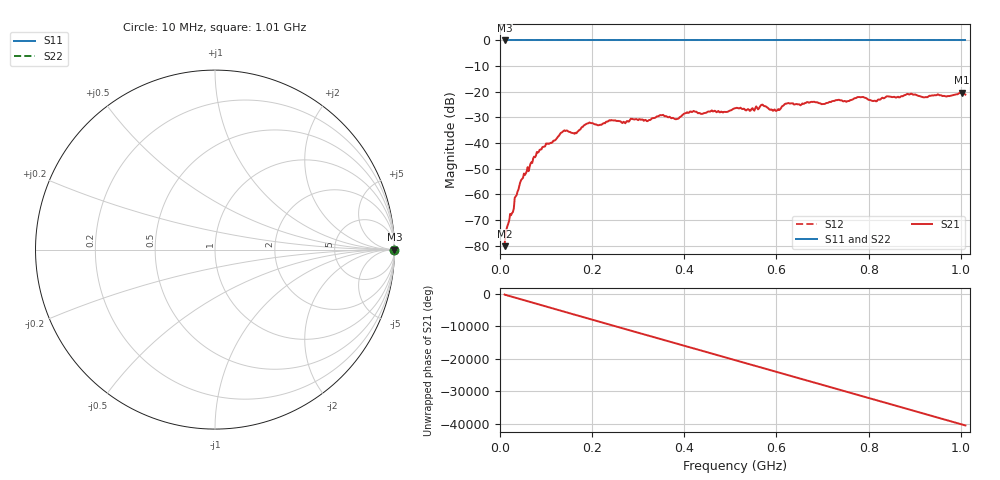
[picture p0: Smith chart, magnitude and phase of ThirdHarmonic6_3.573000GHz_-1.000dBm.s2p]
! 8/17/2025 11:50:52 AM
! C:\ANRITSUVNA\TEMP\TEMP.S2P
! CHANNEL.1
! TR.MEASUREMENT
! RAW.DATA
! RF.CORRECTION.OFF
! AVERAGING.OFF
! IF.BANDWIDTH: 5KHZ
! SWEEPTYPE:  FREQ.SWEEP(Linear)
! Reference Plane Port Info
! PORT:  PORT1  PORT2
! DISTANCE:  0  m  0  m
! TIME:  0  s  0  s
! PHASE.OFFSET:  0  deg.  0  deg.
! LOSS:  0  dB  0  dB
! REF.LOSS:  0  dB  0  dB
! REF.FREQ:  0  Hz  0  Hz
! Power Info
! POWER:  -20  dBm  -20  dBm
! EFF.POWER:  -20  dBm  -20  dBm
! SOURCE.ATTEN:  0  dB  0  dB
! TEST.ATTEN:  0  dB  0  dB
# GHZ S RI R 50.0
! FREQ.GHZ  S11RE  S11IM  S21RE  S21IM  S12RE  S12IM  S22RE  S22IM
!; PortSelection: Port_12
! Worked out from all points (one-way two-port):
!   501 points, 10 MHz to 1.01 GHz, reference 50 ohm
!   highest |S21| = -20.40 dB at 1.002 GHz (marker M1); lowest = -80.2 dB at 10 MHz (marker M2)
!   lowest |S11| = 0.0 dB at 10 MHz (marker M3)
!   |S11| at or under -10 dB: nowhere
!   |S22| runs from 0.0 to 0.0 dB; largest |S21 - S12| = 1.1
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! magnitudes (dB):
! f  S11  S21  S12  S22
! 10 MHz  0.0  -80.2  0.0  0.0
! 18 MHz  0.0  -71.4  0.0  0.0
! 44 MHz  0.0  -55.2  0.0  0.0
! 76 MHz  0.0  -45.5  0.0  0.0
! 136 MHz  0.0  -35.6  0.0  0.0
! 162 MHz  0.0  -36.4  0.0  0.0
! 178 MHz  0.0  -33.7  0.0  0.0
! 192 MHz  0.0  -32.3  0.0  0.0
! 322 MHz  0.0  -31.2  0.0  0.0
! 344 MHz  0.0  -29.6  0.0  0.0
! 384 MHz  0.0  -30.6  0.0  0.0
! 416 MHz  0.0  -27.9  0.0  0.0
! 510 MHz  0.0  -26.4  0.0  0.0
! 570 MHz  0.0  -25.0  0.0  0.0
! 596 MHz  0.0  -26.9  0.0  0.0
! 622 MHz  0.0  -24.6  0.0  0.0
! 678 MHz  0.0  -24.0  0.0  0.0
! 784 MHz  0.0  -22.1  0.0  0.0
! 814 MHz  0.0  -23.5  0.0  0.0
! 844 MHz  0.0  -21.9  0.0  0.0
! 1.002 GHz  0.0  -20.4  0.0  0.0
! 1.01 GHz  0.0  -21.1  0.0  0.0
